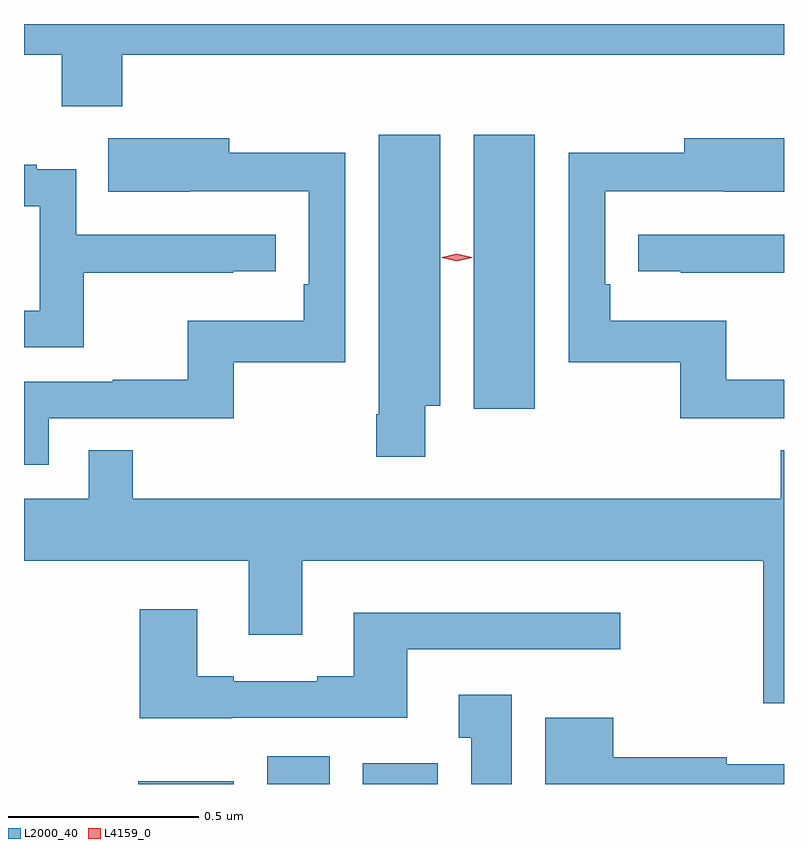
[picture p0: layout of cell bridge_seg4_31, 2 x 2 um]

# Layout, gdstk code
import gdstk
lib = gdstk.Library(unit=1e-6, precision=1e-09)
def R(c, l, rs):  # rectangles x0, y0, x1, y1
    for r in rs: c.add(gdstk.rectangle(r[:2], r[2:], *l))
def P(c, l, *ps):  # polygons
    for p in ps: c.add(gdstk.Polygon(p, *l))
L2000_40 = (2000, 40)
L4159_0 = (4159, 0)

bridge_seg4_31 = lib.new_cell('bridge_seg4_31')
R(bridge_seg4_31, L2000_40, [(1134.392,828.201,1134.643,828.208), (1134.731,828.201,1134.895,828.274), (1134.983,828.201,1135.18,828.256), (1135.274,829.188,1135.435,829.909)])
P(bridge_seg4_31, L2000_40, [(1134.35,830.12),(1136.091,830.12),(1136.091,830.201),(1134.091,830.201),(1134.091,830.12),(1134.19,830.12),(1134.19,829.985),(1134.35,829.985)],
  [(1135.147,829.196),(1135.186,829.196),(1135.186,829.909),(1135.025,829.909),(1135.025,829.174),(1135.018,829.174),(1135.018,829.062),(1135.147,829.062)],
  [(1134.156,829.164),(1134.643,829.164),(1134.643,829.311),(1134.936,829.311),(1134.936,829.862),(1134.631,829.862),(1134.631,829.9),(1134.313,829.9),(1134.313,829.76),(1134.527,829.76),(1134.527,829.761),(1134.84,829.761),(1134.84,829.516),(1134.827,829.516),(1134.827,829.42),(1134.522,829.42),(1134.522,829.265),(1134.325,829.265),(1134.325,829.26),(1134.091,829.26),(1134.091,829.041),(1134.156,829.041)],
  [(1136.091,829.265),(1135.939,829.265),(1135.939,829.42),(1135.634,829.42),(1135.634,829.516),(1135.62,829.516),(1135.62,829.761),(1135.933,829.761),(1135.933,829.76),(1136.091,829.76),(1136.091,829.9),(1135.829,829.9),(1135.829,829.862),(1135.524,829.862),(1135.524,829.311),(1135.818,829.311),(1135.818,829.164),(1136.091,829.164)],
  [(1134.248,829.546),(1134.641,829.546),(1134.641,829.551),(1134.754,829.551),(1134.754,829.647),(1134.228,829.647),(1134.228,829.819),(1134.125,829.819),(1134.125,829.831),(1134.091,829.831),(1134.091,829.722),(1134.132,829.722),(1134.132,829.446),(1134.091,829.446),(1134.091,829.35),(1134.248,829.35)],
  [(1136.091,829.647),(1135.707,829.647),(1135.707,829.551),(1135.819,829.551),(1135.819,829.546),(1136.091,829.546)],
  [(1136.091,829.079),(1136.083,829.079),(1136.083,828.952),(1134.377,828.952),(1134.377,829.079),(1134.261,829.079),(1134.261,828.952),(1134.091,828.952),(1134.091,828.788),(1134.683,828.788),(1134.683,828.594),(1134.823,828.594),(1134.823,828.788),(1136.036,828.788),(1136.036,828.414),(1136.091,828.414)],
  [(1134.639,828.375),(1135.099,828.375),(1135.099,828.555),(1135.66,828.555),(1135.66,828.652),(1134.959,828.652),(1134.959,828.484),(1134.863,828.484),(1134.863,828.471),(1134.643,828.471),(1134.643,828.484),(1134.547,828.484),(1134.547,828.661),(1134.395,828.661),(1134.395,828.374),(1134.639,828.374)],
  [(1135.375,828.436),(1135.235,828.436),(1135.235,828.323),(1135.268,828.323),(1135.268,828.201),(1135.375,828.201)],
  [(1136.091,828.253),(1135.94,828.253),(1135.94,828.272),(1135.642,828.272),(1135.642,828.376),(1135.463,828.376),(1135.463,828.201),(1136.091,828.201)])
P(bridge_seg4_31, L4159_0, [(1135.23,829.577),(1135.19,829.586),(1135.19,829.587),(1135.19,829.587),(1135.23,829.597),(1135.27,829.587),(1135.27,829.587),(1135.27,829.586)])

lib.write_gds('bridge_seg4_31.gds')
